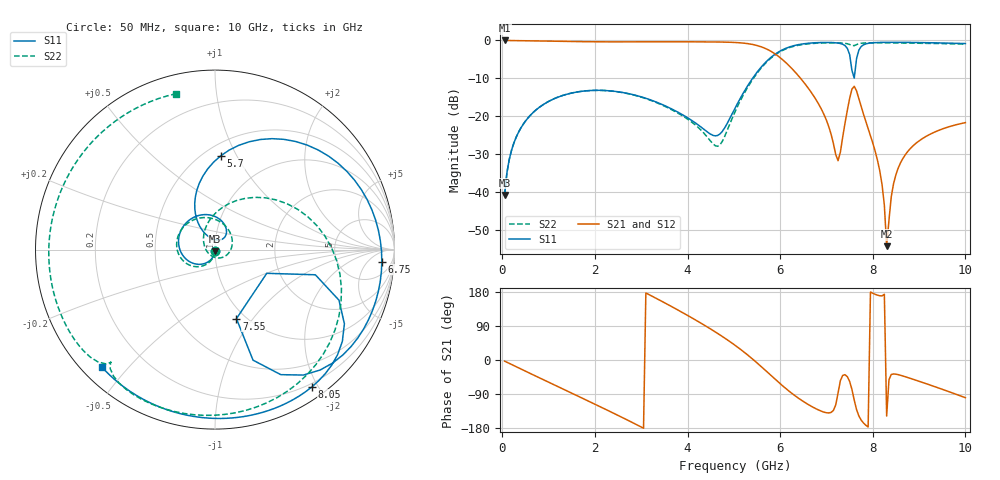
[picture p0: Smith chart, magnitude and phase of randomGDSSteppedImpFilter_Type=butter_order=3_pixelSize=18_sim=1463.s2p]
! freq	dB(S11)	phase(S11)	dB(S12)	phase(S12)
!  dB(S21)	phase(S21)	dB(S22)	phase(S22)
!S-par simulation data
#  GHz  S  DB  R 50
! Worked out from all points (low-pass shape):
!   200 points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, 50 MHz to 10 GHz, reference 50 ohm
!   highest |S21| = -0.01 dB at 50 MHz (marker M1); lowest = -54.4 dB at 8.3 GHz (marker M2)
!   |S21| within 3 dB of the highest: start of sweep to 5.819 GHz
!   lowest |S11| = -40.9 dB at 50 MHz (marker M3), VSWR 1.02, Z = 50 - j0.905 ohm
!   |S11| at or under -10 dB: start of sweep to 5.406 GHz
!   |S22| runs from -40.8 to -0.6 dB; largest |S21 - S12| = 0
!   S11 on the Smith chart (normalised r, x): 50 MHz: 1.00, -0.02; 5.7 GHz: 0.60, +0.86; 6.75 GHz: 14, -14; 7.55 GHz: 0.91, -0.83; 8.05 GHz: 0.16, -1.92; 10 GHz: 0.06, -0.42
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0.05  -40.86 -91.5  -0.01 -3.0  -0.01 -3.0  -40.85 -91.0
0.2  -29.02 -102.5  -0.03 -11.9  -0.03 -11.9  -29.01 -100.4
0.5  -21.34 -122.4  -0.07 -29.5  -0.07 -29.5  -21.32 -117.2
1.75  -13.40 159.0  -0.33 -102.1  -0.33 -102.1  -13.39 175.4
2.65  -13.87 105.6  -0.38 -155.3  -0.38 -155.3  -13.91 122.7
3.4  -16.66 68.2  -0.36 157.8  -0.36 157.8  -16.80 67.0
4.65  -25.12 88.6  -0.41 70.1  -0.41 70.1  -27.98 -130.4
5.05  -17.34 123.4  -0.55 36.7  -0.55 36.7  -18.19 117.3
5.7  -5.62 86.4  -2.23 -29.5  -2.23 -29.5  -5.82 26.1
6.15  -1.95 44.0  -6.17 -78.1  -6.17 -78.1  -2.11 -28.4
6.7  -0.65 -0.6  -14.24 -124.0  -14.24 -124.0  -0.80 -79.1
6.75  -0.61 -4.1  -15.17 -127.2  -15.17 -127.2  -0.76 -82.9
7.25  -0.70 -39.5  -31.79 -87.4  -31.79 -87.4  -0.64 -116.4
7.55  -7.90 -72.7  -12.87 -77.7  -12.87 -77.7  -1.34 -132.8
7.7  -2.55 -22.2  -15.39 -147.7  -15.39 -147.7  -0.88 -136.2
8.05  -0.58 -54.7  -29.22 173.4  -29.22 173.4  -0.62 -155.2
8.2  -0.51 -62.6  -38.07 169.2  -38.07 169.2  -0.62 -162.6
8.3  -0.50 -67.4  -54.38 -147.9  -54.38 -147.9  -0.63 -167.4
8.35  -0.49 -69.6  -47.48 -51.9  -47.48 -51.9  -0.64 -169.8
8.5  -0.50 -76.1  -35.47 -37.4  -35.47 -37.4  -0.66 -177.0
8.75  -0.52 -86.2  -29.43 -46.0  -29.43 -46.0  -0.70 171.1
10  -0.83 -134.0  -21.73 -99.5  -21.73 -99.5  -0.96 104.1
